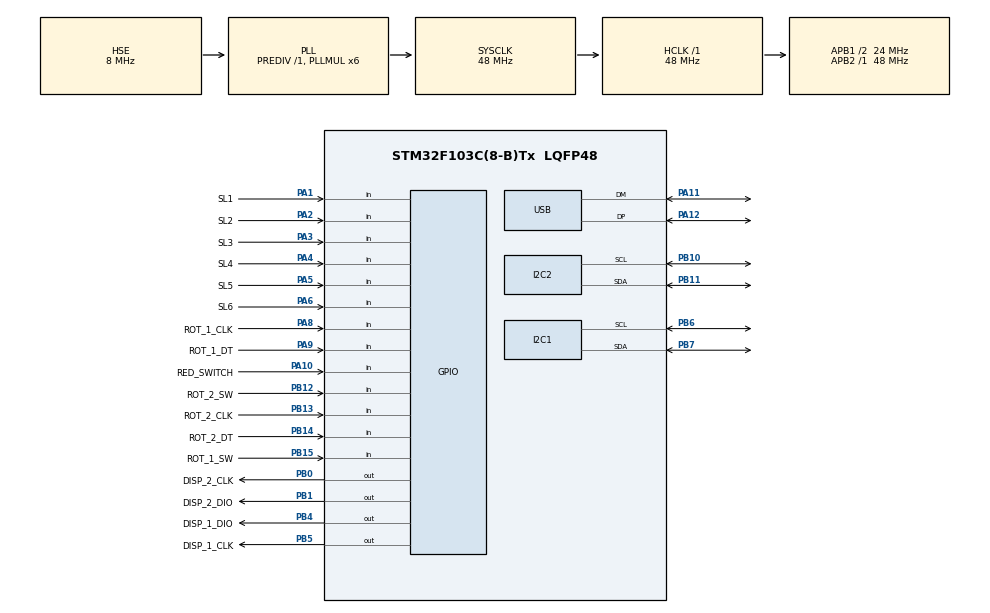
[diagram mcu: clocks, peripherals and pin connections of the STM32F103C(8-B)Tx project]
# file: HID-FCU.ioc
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FREERTOS.HEAP_NUMBER=1
FREERTOS.Tasks01=defaultTask,24,128,StartDefaultTask,Default,NULL,Dynamic,NULL,NULL
FREERTOS.configTOTAL_HEAP_SIZE=6144
FREERTOS.configUSE_NEWLIB_REENTRANT=1
I2C1.I2C_Mode=I2C_Standard
I2C1.OwnAddress=0x20
I2C2.I2C_Mode=I2C_Fast
Mcu.Family=STM32F1
Mcu.Name=STM32F103C(8-B)Tx
Mcu.Package=LQFP48
NVIC.PriorityGroup=NVIC_PRIORITYGROUP_4
NVIC.TIM4_IRQn=true\:15\:0\:false\:false\:true\:false\:false\:true\:true
NVIC.TimeBase=TIM4_IRQn
NVIC.TimeBaseIP=TIM4
NVIC.USB_HP_CAN1_TX_IRQn=true\:5\:0\:false\:false\:true\:true\:true\:true\:true
NVIC.USB_LP_CAN1_RX0_IRQn=true\:5\:0\:true\:false\:true\:true\:false\:true\:true
PA1.GPIO_Label=SL1
PA1.Signal=GPIO_Input
PA10.GPIO_Label=RED_SWITCH
PA10.GPIO_PuPd=GPIO_PULLDOWN
PA10.Signal=GPIO_Input
PA11.Mode=Device
PA11.Signal=USB_DM
PA12.Mode=Device
PA12.Signal=USB_DP
PA13.Mode=Serial_Wire
PA13.Signal=SYS_JTMS-SWDIO
PA14.Mode=Serial_Wire
PA14.Signal=SYS_JTCK-SWCLK
PA2.GPIO_Label=SL2
PA2.Signal=GPIO_Input
PA3.GPIO_Label=SL3
PA3.Signal=GPIO_Input
PA4.GPIO_Label=SL4
PA4.Signal=GPIO_Input
PA5.GPIO_Label=SL5
PA5.Signal=GPIO_Input
PA6.GPIO_Label=SL6
PA6.Signal=GPIO_Input
PA8.GPIO_Label=ROT_1_CLK
PA8.Signal=GPIO_Input
PA9.GPIO_Label=ROT_1_DT
PA9.Signal=GPIO_Input
PB0.GPIO_Label=DISP_2_CLK
PB0.GPIO_ModeDefaultOutputPP=GPIO_MODE_OUTPUT_OD
PB0.GPIO_PuPd=GPIO_NOPULL
PB0.Signal=GPIO_Output
PB1.GPIO_Label=DISP_2_DIO
PB1.GPIO_ModeDefaultOutputPP=GPIO_MODE_OUTPUT_OD
PB1.GPIO_PuPd=GPIO_NOPULL
PB1.Signal=GPIO_Output
PB10.Mode=I2C
PB10.Signal=I2C2_SCL
PB11.Mode=I2C
PB11.Signal=I2C2_SDA
PB12.GPIO_Label=ROT_2_SW
PB12.Signal=GPIO_Input
PB13.GPIO_Label=ROT_2_CLK
PB13.Signal=GPIO_Input
PB14.GPIO_Label=ROT_2_DT
PB14.Signal=GPIO_Input
PB15.GPIO_Label=ROT_1_SW
PB15.Signal=GPIO_Input
PB4.GPIO_Label=DISP_1_DIO
PB4.GPIO_ModeDefaultOutputPP=GPIO_MODE_OUTPUT_OD
PB4.GPIO_PuPd=GPIO_NOPULL
PB4.Signal=GPIO_Output
PB5.GPIO_Label=DISP_1_CLK
PB5.GPIO_ModeDefaultOutputPP=GPIO_MODE_OUTPUT_OD
PB5.GPIO_PuPd=GPIO_NOPULL
PB5.Signal=GPIO_Output
PB6.Mode=I2C
PB6.Signal=I2C1_SCL
PB7.Mode=I2C
PB7.Signal=I2C1_SDA
PD0-OSC_IN.Mode=HSE-External-Oscillator
PD0-OSC_IN.Signal=RCC_OSC_IN
PD1-OSC_OUT.Mode=HSE-External-Oscillator
PD1-OSC_OUT.Signal=RCC_OSC_OUT
ProjectManager.HeapSize=0x200
ProjectManager.StackSize=0x400
ProjectManager.TargetToolchain=STM32CubeIDE
RCC.AHBFreq_Value=48000000
RCC.APB1CLKDivider=RCC_HCLK_DIV2
RCC.APB1Freq_Value=24000000
RCC.APB1TimFreq_Value=48000000
RCC.APB2Freq_Value=48000000
RCC.APB2TimFreq_Value=48000000
RCC.HCLKFreq_Value=48000000
RCC.PLLMUL=RCC_PLL_MUL6
RCC.SYSCLKFreq_VALUE=48000000
RCC.SYSCLKSource=RCC_SYSCLKSOURCE_PLLCLK
RCC.USBFreq_Value=48000000
USB_DEVICE.CLASS_NAME_FS=HID
USB_DEVICE.PRODUCT_STRING_HID_FS=HID-FCU
USB_DEVICE.VirtualMode=Hid
USB_DEVICE.VirtualModeFS=Hid_FS
VP_FREERTOS_VS_CMSIS_V2.Mode=CMSIS_V2
VP_SYS_VS_tim4.Mode=TIM4
VP_USB_DEVICE_VS_USB_DEVICE_HID_FS.Mode=HID_FS
board=custom

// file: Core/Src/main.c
/* USER CODE BEGIN Header */
/**
  ******************************************************************************
  * @file           : main.c
  * @brief          : Main program body
  ******************************************************************************
  * @attention
  *
  * Copyright (c) 2023 STMicroelectronics.
  * All rights reserved.
  *
  * This software is licensed under terms that can be found in the LICENSE file
  * in the root directory of this software component.
  * If no LICENSE file comes with this software, it is provided AS-IS.
  *
  ******************************************************************************
  */
/* USER CODE END Header */
#include "main.h"
#include "cmsis_os.h"
#include "usb_device.h"

/* USER CODE BEGIN Includes */
#include <stdbool.h>
#include <stdint.h>
#include <string.h>

#include "autopilot.h"
#include "display.h"
//#include "levers.h"
#include "state_handler.h"
#include "switch_panel.h"
#include "usb_hid_handler.h"
/* USER CODE END Includes */

I2C_HandleTypeDef hi2c1;
I2C_HandleTypeDef hi2c2;

/* Definitions for defaultTask */
osThreadId_t defaultTaskHandle;
const osThreadAttr_t defaultTask_attributes = {
  .name = "defaultTask",
  .stack_size = 128 * 4,
  .priority = (osPriority_t) osPriorityNormal,
};

void SystemClock_Config(void);
static void MX_GPIO_Init(void);
static void MX_I2C1_Init(void);
static void MX_I2C2_Init(void);
void StartDefaultTask(void *argument);

int main(void)
{

  /* MCU Configuration--------------------------------------------------------*/

  /* Reset of all peripherals, Initializes the Flash interface and the Systick. */
  HAL_Init();

  /* Configure the system clock */
  SystemClock_Config();

  /* Initialize all configured peripherals */
  MX_GPIO_Init();
  MX_I2C1_Init();
  MX_I2C2_Init();

  /* Init scheduler */
  osKernelInitialize();

  /* Create the thread(s) */
  /* creation of defaultTask */
  defaultTaskHandle = osThreadNew(StartDefaultTask, NULL, &defaultTask_attributes);

  /* Start scheduler */
  osKernelStart();

  /* We should never get here as control is now taken by the scheduler */
  /* Infinite loop */
  while (1) {

  }
}

void SystemClock_Config(void)
{
  RCC_OscInitTypeDef RCC_OscInitStruct = {0};
  RCC_ClkInitTypeDef RCC_ClkInitStruct = {0};
  RCC_PeriphCLKInitTypeDef PeriphClkInit = {0};

  /** Initializes the RCC Oscillators according to the specified parameters
  * in the RCC_OscInitTypeDef structure.
  */
  RCC_OscInitStruct.OscillatorType = RCC_OSCILLATORTYPE_HSE;
  RCC_OscInitStruct.HSEState = RCC_HSE_ON;
  RCC_OscInitStruct.HSEPredivValue = RCC_HSE_PREDIV_DIV1;
  RCC_OscInitStruct.HSIState = RCC_HSI_ON;
  RCC_OscInitStruct.PLL.PLLState = RCC_PLL_ON;
  RCC_OscInitStruct.PLL.PLLSource = RCC_PLLSOURCE_HSE;
  RCC_OscInitStruct.PLL.PLLMUL = RCC_PLL_MUL6;
  if (HAL_RCC_OscConfig(&RCC_OscInitStruct) != HAL_OK)
  {
    Error_Handler();
  }

  /** Initializes the CPU, AHB and APB buses clocks
  */
  RCC_ClkInitStruct.ClockType = RCC_CLOCKTYPE_HCLK|RCC_CLOCKTYPE_SYSCLK
                              |RCC_CLOCKTYPE_PCLK1|RCC_CLOCKTYPE_PCLK2;
  RCC_ClkInitStruct.SYSCLKSource = RCC_SYSCLKSOURCE_PLLCLK;
  RCC_ClkInitStruct.AHBCLKDivider = RCC_SYSCLK_DIV1;
  RCC_ClkInitStruct.APB1CLKDivider = RCC_HCLK_DIV2;
  RCC_ClkInitStruct.APB2CLKDivider = RCC_HCLK_DIV1;

  if (HAL_RCC_ClockConfig(&RCC_ClkInitStruct, FLASH_LATENCY_1) != HAL_OK)
  {
    Error_Handler();
  }
  PeriphClkInit.PeriphClockSelection = RCC_PERIPHCLK_USB;
  PeriphClkInit.UsbClockSelection = RCC_USBCLKSOURCE_PLL;
  if (HAL_RCCEx_PeriphCLKConfig(&PeriphClkInit) != HAL_OK)
  {
    Error_Handler();
  }
}

static void MX_I2C1_Init(void)
{

  hi2c1.Instance = I2C1;
  hi2c1.Init.ClockSpeed = 100000;
  hi2c1.Init.DutyCycle = I2C_DUTYCYCLE_2;
  hi2c1.Init.OwnAddress1 = 64;
  hi2c1.Init.AddressingMode = I2C_ADDRESSINGMODE_7BIT;
  hi2c1.Init.DualAddressMode = I2C_DUALADDRESS_DISABLE;
  hi2c1.Init.OwnAddress2 = 0;
  hi2c1.Init.GeneralCallMode = I2C_GENERALCALL_DISABLE;
  hi2c1.Init.NoStretchMode = I2C_NOSTRETCH_DISABLE;
  if (HAL_I2C_Init(&hi2c1) != HAL_OK)
  {
    Error_Handler();
  }

}

static void MX_I2C2_Init(void)
{

  hi2c2.Instance = I2C2;
  hi2c2.Init.ClockSpeed = 400000;
  hi2c2.Init.DutyCycle = I2C_DUTYCYCLE_2;
  hi2c2.Init.OwnAddress1 = 0;
  hi2c2.Init.AddressingMode = I2C_ADDRESSINGMODE_7BIT;
  hi2c2.Init.DualAddressMode = I2C_DUALADDRESS_DISABLE;
  hi2c2.Init.OwnAddress2 = 0;
  hi2c2.Init.GeneralCallMode = I2C_GENERALCALL_DISABLE;
  hi2c2.Init.NoStretchMode = I2C_NOSTRETCH_DISABLE;
  if (HAL_I2C_Init(&hi2c2) != HAL_OK)
  {
    Error_Handler();
  }

}

static void MX_GPIO_Init(void)
{
  GPIO_InitTypeDef GPIO_InitStruct = {0};

  /* GPIO Ports Clock Enable */
  __HAL_RCC_GPIOD_CLK_ENABLE();
  __HAL_RCC_GPIOA_CLK_ENABLE();
  __HAL_RCC_GPIOB_CLK_ENABLE();

  /*Configure GPIO pin Output Level */
  HAL_GPIO_WritePin(GPIOB, DISP_2_CLK_Pin|DISP_2_DIO_Pin|DISP_1_DIO_Pin|DISP_1_CLK_Pin, GPIO_PIN_RESET);

  /*Configure GPIO pins : SL1_Pin SL2_Pin SL3_Pin SL4_Pin
                           SL5_Pin SL6_Pin ROT_1_CLK_Pin ROT_1_DT_Pin */
  GPIO_InitStruct.Pin = SL1_Pin|SL2_Pin|SL3_Pin|SL4_Pin
                          |SL5_Pin|SL6_Pin|ROT_1_CLK_Pin|ROT_1_DT_Pin;
  GPIO_InitStruct.Mode = GPIO_MODE_INPUT;
  GPIO_InitStruct.Pull = GPIO_NOPULL;
  HAL_GPIO_Init(GPIOA, &GPIO_InitStruct);

  /*Configure GPIO pins : DISP_2_CLK_Pin DISP_2_DIO_Pin DISP_1_DIO_Pin DISP_1_CLK_Pin */
  GPIO_InitStruct.Pin = DISP_2_CLK_Pin|DISP_2_DIO_Pin|DISP_1_DIO_Pin|DISP_1_CLK_Pin;
  GPIO_InitStruct.Mode = GPIO_MODE_OUTPUT_OD;
  GPIO_InitStruct.Pull = GPIO_NOPULL;
  GPIO_InitStruct.Speed = GPIO_SPEED_FREQ_LOW;
  HAL_GPIO_Init(GPIOB, &GPIO_InitStruct);

  /*Configure GPIO pins : ROT_2_SW_Pin ROT_2_CLK_Pin ROT_2_DT_Pin ROT_1_SW_Pin */
  GPIO_InitStruct.Pin = ROT_2_SW_Pin|ROT_2_CLK_Pin|ROT_2_DT_Pin|ROT_1_SW_Pin;
  GPIO_InitStruct.Mode = GPIO_MODE_INPUT;
  GPIO_InitStruct.Pull = GPIO_NOPULL;
  HAL_GPIO_Init(GPIOB, &GPIO_InitStruct);

  /*Configure GPIO pin : RED_SWITCH_Pin */
  GPIO_InitStruct.Pin = RED_SWITCH_Pin;
  GPIO_InitStruct.Mode = GPIO_MODE_INPUT;
  GPIO_InitStruct.Pull = GPIO_PULLDOWN;
  HAL_GPIO_Init(RED_SWITCH_GPIO_Port, &GPIO_InitStruct);

}

void StartDefaultTask(void *argument)
{
  /* init code for USB_DEVICE */
  MX_USB_DEVICE_Init();
  /* USER CODE BEGIN 5 */
  bool fast_bootup = false;

  init_usb_hid_handler();
  init_switch_panel();
  init_autopilot();
  //init_levers();

  /* Infinite loop */
  while(1)
  {
    uint32_t battery_state;
    uint32_t av_bus2_state;
    uint32_t switch_state;

    switch (get_state())
    {
      case STATE_OFF:
      {
        switch_state  = get_switch_state();
        battery_state = (switch_state & (1U << SW_BATTERY));
        av_bus2_state = (switch_state & (1U << SW_AVIONIC_BUS2));

        if (0 == (switch_state & (1U << SW_SYNC_MODE)))
        {
          fast_bootup = true;
        }
        else
        {
          fast_bootup = false;
        }

        if (0 == battery_state && 0 == av_bus2_state)
        {
          set_state(STATE_AVIONICS_BUS2_BOOTUP);
        }
        break;
      }
      case STATE_AVIONICS_BUS2_BOOTUP:
      {
        for (int c = 1; c <= 4; c+= 1)
        {
          set_display(SEG_PFT, c);

          switch_state  = get_switch_state();
          battery_state = (switch_state & (1U << SW_BATTERY));
          av_bus2_state = (switch_state & (1U << SW_AVIONIC_BUS2));

          if (battery_state > 0 || av_bus2_state > 0)
          {
            set_state(STATE_OFF);
            clear_display();
            break;
          }

          if (false == fast_bootup)
          {
            osDelay(2000);
          }
          else
          {
            osDelay(0);
          }
        }

        switch_state  = get_switch_state();
        battery_state = (switch_state & (1U << SW_BATTERY));
        av_bus2_state = (switch_state & (1U << SW_AVIONIC_BUS2));

        if (battery_state > 0 || av_bus2_state > 0)
        {
          set_state(STATE_OFF);
          clear_display();
          break;
        }

        if (false == fast_bootup)
        {
          osDelay(2000);
        }
        else
        {
          osDelay(0);
        }

        fill_display();

        switch_state  = get_switch_state();
        battery_state = (switch_state & (1U << SW_BATTERY));
        av_bus2_state = (switch_state & (1U << SW_AVIONIC_BUS2));

        if (battery_state > 0 || av_bus2_state > 0)
        {
          set_state(STATE_OFF);
          clear_display();
          break;
        }

        if (false == fast_bootup)
        {
          osDelay(4000);
        }
        else
        {
          osDelay(0);
        }

        disable_autopilot();
        set_state(STATE_READY);

        clear_display();
        set_display(SEG_OFF, 0);

        break;
      }
      case STATE_READY:
      {
        switch_state  = get_switch_state();
        battery_state = (switch_state & (1U << SW_BATTERY));
        av_bus2_state = (switch_state & (1U << SW_AVIONIC_BUS2));

        if (battery_state > 0 || av_bus2_state > 0)
        {
          set_state(STATE_OFF);
          clear_display();
        }
        break;
      }
    }

    osDelay(1);
  }
  /* USER CODE END 5 */
}

void HAL_TIM_PeriodElapsedCallback(TIM_HandleTypeDef *htim)
{
  if (htim->Instance == TIM4) {
    HAL_IncTick();
  }
}

void Error_Handler(void)
{
  __disable_irq();
  while (1)
  {
  }
}
